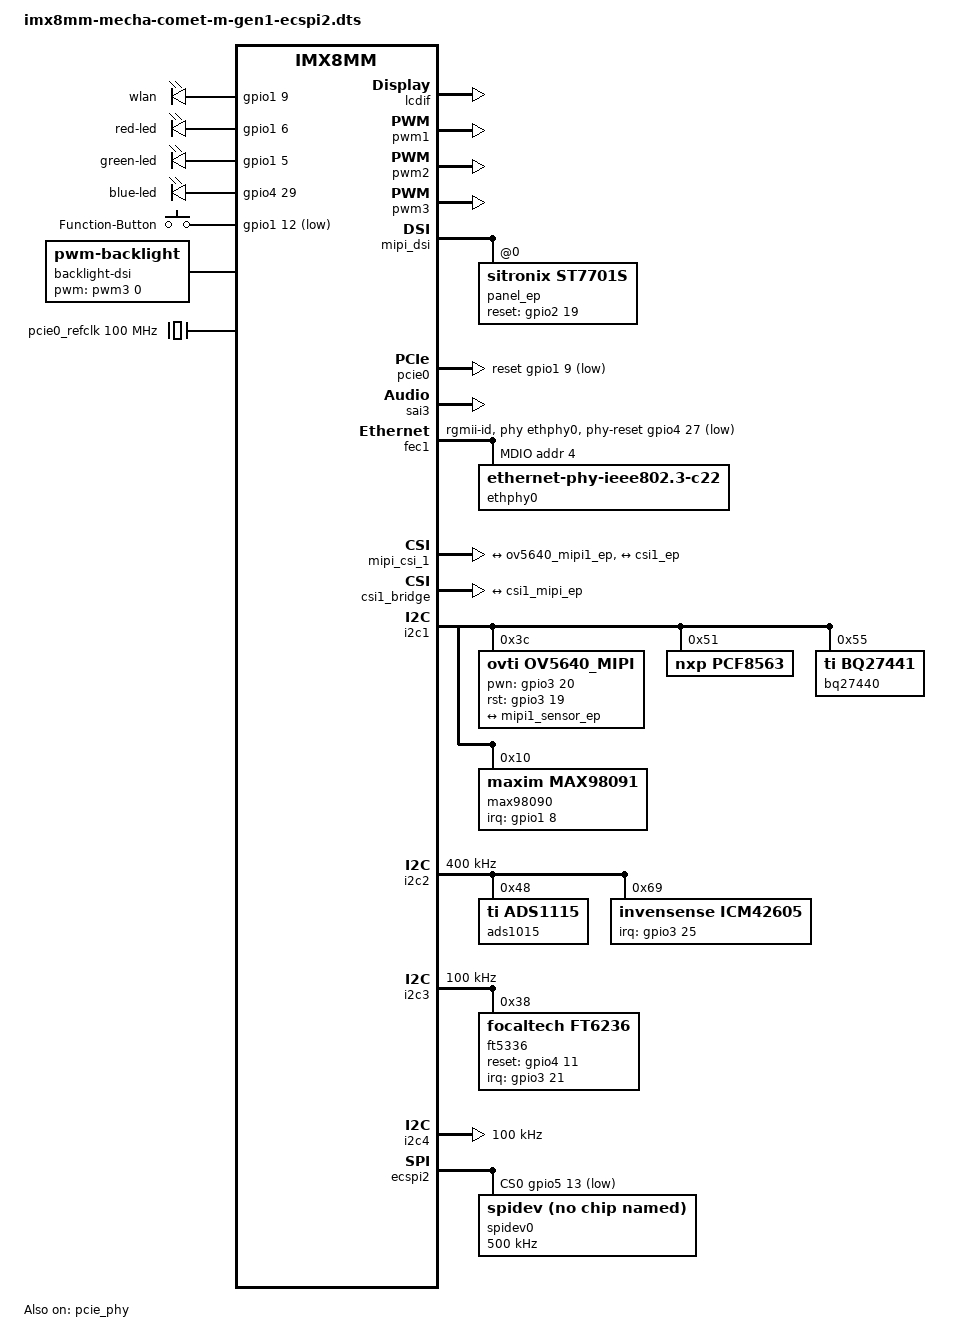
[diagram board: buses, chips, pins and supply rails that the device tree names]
// SPDX-License-Identifier: (GPL-2.0+ OR MIT)
/*
 * Copyright 2019 NXP
 */

/dts-v1/;

#include "imx8mm-mecha.dts"
#include <dt-bindings/phy/phy-imx8-pcie.h>

/ {

	leds {
		led_wlan: wlan {
			label = "wlan";
			gpios = <&gpio1 9 GPIO_ACTIVE_HIGH>;
			linux,default-trigger = "rfkill0";
		};

		led_red: red_led {
			label = "red-led";
			gpios = <&gpio1 6 GPIO_ACTIVE_HIGH>;
		};

		led_green: green_led {
			label = "green-led";
			gpios = <&gpio1 5 GPIO_ACTIVE_HIGH>;
		};

		led_blue: red_blue {
			label = "blue-led";
			gpios = <&gpio4 29 GPIO_ACTIVE_HIGH>;
		};
	};
	
	function_button: Function-Button {
		compatible = "gpio-keys";
		pinctrl-names = "default";
		pinctrl-0 = <&pinctrl_function_btn_gpio>;

		btn1 {
			label = "Function-Button";
			gpios = <&gpio1 12 GPIO_ACTIVE_LOW>;
			wakeup-source;
			linux,code = <KEY_FN_1>;
		};
	};

	gpio_init {
		compatible = "gpio-keys";
		pinctrl-names = "default";
		pinctrl-0 = <&pinctrl_gpios>;
	};

	backlight-dsi {
		status = "okay";
		compatible = "pwm-backlight";
		pwms = <&pwm3 0 5000000>;
		brightness-levels = <0 255>;
		num-interpolated-steps = <255>;
		default-brightness-level = <250>;
	};

	pcie0_refclk: pcie0-refclk {
		compatible = "fixed-clock";
		#clock-cells = <0>;
		clock-frequency = <100000000>;
	};

	sound-max98090 {
		compatible = "simple-audio-card";
		simple-audio-card,name = "max98090-audio";
		simple-audio-card,format = "i2s";
		simple-audio-card,frame-master = <&cpudai>;
		simple-audio-card,bitclock-master = <&cpudai>;
		simple-audio-card,widgets = "Speakers", "Speakers";
		simple-audio-card,routing =
					"Speakers", "SPKR",
					"Speakers", "SPKL",
					 "IN1", "MICBIAS",
                                         "MIC1","IN1",
                                         "MIC2","IN1";

		cpudai: simple-audio-card,cpu {
			sound-dai = <&sai3>;
			dai-tdm-slot-num = <2>;
			dai-tdm-slot-width = <32>;
		};

		simple-audio-card,codec {
			sound-dai = <&max98090>;
			clocks = <&clk IMX8MM_CLK_SAI3_ROOT>;
		};
	};
};

&lcdif {
	status = "okay";
};

&pwm1 {
        pinctrl-names = "default";
        pinctrl-0 = <&pinctrl_pwm1>;
        status = "okay";
};

&pwm2 {
        pinctrl-names = "default";
        pinctrl-0 = <&pinctrl_pwm2>;
        status = "okay";
};

&pwm3 {
	#pwm-cells = <2>;
        pinctrl-names = "default";
        pinctrl-0 = <&pinctrl_pwm3>;
        status = "okay";
};

&mipi_dsi {
        status = "okay";
        panel_ep: panel@0 {
                compatible = "sitronix,st7701s";
                reg = <0>;
                reset-gpio = <&gpio2 19 GPIO_ACTIVE_HIGH>;
                dsi-lanes = <2>;
                video-mode = <2>;       /* 0: burst mode
                                         * 1: non-burst mode with sync event
                                         * 2: non-burst mode with sync pulse
                                         */
                panel-width-mm = <60>;
                panel-height-mm = <60>;
                status = "okay";
        };
};

&pcie_phy {
	fsl,refclk-pad-mode = <IMX8_PCIE_REFCLK_PAD_INPUT>;
	fsl,tx-deemph-gen1 = <0x2d>;
	fsl,tx-deemph-gen2 = <0xf>;
	clocks = <&pcie0_refclk>;
	fsl,clkreq-unsupported;
	clock-names = "ref";
	status = "okay";
};

&pcie0 {
	pinctrl-names = "default";
	pinctrl-0 = <&pinctrl_pcie0>;
	reset-gpio = <&gpio1 9 GPIO_ACTIVE_LOW>;
	clocks = <&clk IMX8MM_CLK_PCIE1_ROOT>,
		<&clk IMX8MM_CLK_PCIE1_AUX>,
		<&pcie0_refclk>;
	clock-names = "pcie", "pcie_aux", "pcie_bus";
	assigned-clocks = <&clk IMX8MM_CLK_PCIE1_AUX>,
		<&clk IMX8MM_CLK_PCIE1_CTRL>;
	assigned-clock-rates = <10000000>, <250000000>;
	assigned-clock-parents = <&clk IMX8MM_SYS_PLL2_50M>,
		<&clk IMX8MM_SYS_PLL2_250M>;
	status = "okay";
};

&sai3 {
	#sound-dai-cells = <0>;
	pinctrl-names = "default";
	pinctrl-0 = <&pinctrl_sai3>;
	assigned-clocks = <&clk IMX8MM_CLK_SAI3>;
	assigned-clock-parents = <&clk IMX8MM_AUDIO_PLL2_OUT>;
	assigned-clock-rates = <22579200>;
	clocks = <&clk IMX8MM_CLK_SAI3_IPG>, <&clk IMX8MM_CLK_DUMMY>,
		<&clk IMX8MM_CLK_SAI3_ROOT>, <&clk IMX8MM_CLK_DUMMY>,
		<&clk IMX8MM_CLK_DUMMY>, <&clk IMX8MM_AUDIO_PLL1_OUT>,
		<&clk IMX8MM_AUDIO_PLL2_OUT>;
	clock-names = "bus", "mclk0", "mclk1", "mclk2", "mclk3", "pll8k", "pll11k";
	//fsl,sai-asynchronous;
	status = "okay";
};

&fec1 {
	pinctrl-names = "default";
	pinctrl-0 = <&pinctrl_fec1>;
	phy-mode = "rgmii-id";
	phy-handle = <&ethphy0>;
	phy-reset-gpios = <&gpio4 27 GPIO_ACTIVE_LOW>;
	phy-reset-post-delay = <300>;
	phy-reset-duration = <80>;
	fsl,magic-packet;
	status = "okay";

	mdio {
		#address-cells = <1>;
		#size-cells = <0>;

		ethphy0: ethernet-phy@4 {
			compatible = "ethernet-phy-ieee802.3-c22";
			reg = <4>;
			at803x,eee-disabled;
			at803x,vddio-1p8v;
		};
	};
};

&mipi_csi_1 {
	#address-cells = <1>;
	#size-cells = <0>;
	status = "okay";
	port {
		mipi1_sensor_ep: endpoint@1 {
			remote-endpoint = <&ov5640_mipi1_ep>;
			data-lanes = <2>;
			csis-hs-settle = <13>;
			csis-clk-settle = <2>;
			csis-wclk;
		};

		csi1_mipi_ep: endpoint@2 {
			remote-endpoint = <&csi1_ep>;
		};
	};
};

&csi1_bridge {
	fsl,mipi-mode;
	status = "okay";
	port {
		csi1_ep: endpoint {
			remote-endpoint = <&csi1_mipi_ep>;
		};
	};
};

&i2c1 {

	ov5640_mipi: ov5640_mipi@3c {
		compatible = "ovti,ov5640_mipi";
		reg = <0x3c>;
		status = "okay";
		pinctrl-names = "default";
		pinctrl-0 = <&pinctrl_csi_pwn>, <&pinctrl_csi_rst>;
		clocks = <&clk IMX8MM_CLK_CLKO1>;
		clock-names = "csi_mclk";
		assigned-clocks = <&clk IMX8MM_CLK_CLKO1>;
		assigned-clock-parents = <&clk IMX8MM_CLK_24M>;
		assigned-clock-rates = <24000000>;
		csi_id = <0>;
		pwn-gpios = <&gpio3 20 GPIO_ACTIVE_HIGH>;
		rst-gpios = <&gpio3 19 GPIO_ACTIVE_HIGH>;
		mclk = <24000000>;
		mclk_source = <0>;
		port {
			ov5640_mipi1_ep: endpoint {
				remote-endpoint = <&mipi1_sensor_ep>;
			};
		};
	};

	pcf8563: pcf8563@51 {
		compatible = "nxp,pcf8563";
		reg = <0x51>;
		#clock-cells = <0>;
	};

	bq27440: fuel-gauge@55 {
		compatible = "ti,bq27441";
		reg = <0x55>;
		monitored-battery = <&bat>;
		bat: battery {
			compatible = "simple-battery";
			device-chemistry = "lithium-ion-polymer";
			energy-full-design-microwatt-hours = <1100000>;
			charge-full-design-microamp-hours = <3000000>;
			voltage-min-design-microvolt = <3200000>;
			voltage-max-design-microvolt = <4200000>;
			over-voltage-threshold-microvolt = <4500000>;
		};
	};

	max98090: max98090@10 {
		#sound-dai-cells = <0>;
		compatible = "maxim,max98091";
		reg = <0x10>;
		clocks = <&clk IMX8MM_CLK_SAI3_ROOT>;
		interrupt-parent = <&gpio1>;
		interrupts = <8 IRQ_TYPE_LEVEL_HIGH>;
		clock-names = "mclk";
	};
};

&i2c2 {
	clock-frequency = <400000>;
	pinctrl-names = "default";
	pinctrl-0 = <&pinctrl_i2c2>;
	status = "okay";

	ads1015@48 {
		compatible = "ti,ads1115";
		reg = <0x48>;
		#address-cells = <1>;
		#size-cells = <0>;
	};

	icm42605@69 {
		compatible = "invensense,icm42605";
		pinctrl-0 = <&pinctrl_icm42605>;
		reg = <0x69>;
		interrupt-parent = <&gpio3>;
		interrupts = <25 IRQ_TYPE_EDGE_FALLING>;
		// vdd-supply = <&vdd>;
		// vddio-supply = <&vddio>;
	};
};

&i2c3 {
	clock-frequency = <100000>;
	pinctrl-names = "default";
	pinctrl-0 = <&pinctrl_i2c3>;
	status = "okay";

	ft5336@38 {
		compatible = "focaltech,ft6236", "ft5x06";
		reg = <0x38>;
		pinctrl-names = "default";
		pinctrl-0 = <&pinctrl_touch>;
		interrupt-parent = <&gpio3>;
		interrupts = <21 0>;
		reset-gpios = <&gpio4 11 GPIO_ACTIVE_HIGH>;
		touchscreen-size-x = <480>;
		touchscreen-size-y = <480>;
		status = "okay";
	};
};

&i2c4 {
	clock-frequency = <100000>;
	pinctrl-names = "default";
	pinctrl-0 = <&pinctrl_i2c4>;
	status = "okay";
};

&ecspi2 {
	#address-cells = <1>;
	#size-cells = <0>;
	fsl,spi-num-chipselects = <1>;
	pinctrl-names = "default";
	pinctrl-0 = <&pinctrl_ecspi2 &pinctrl_ecspi2_cs>;
	cs-gpios = <&gpio5 13 GPIO_ACTIVE_LOW>;
	status = "okay";

	spidev0: spi@0 {
		reg = <0>;
		compatible = "rohm,dh2228fv";
		spi-max-frequency = <500000>;
	};
};

&iomuxc {

	pinctrl_function_btn_gpio: gpiogrp {
		fsl,pins = <
			MX8MM_IOMUXC_GPIO1_IO12_GPIO1_IO12		0x19
		>;
	};

	pinctrl_i2c3: i2c3grp {
		fsl,pins = <
			MX8MM_IOMUXC_I2C3_SCL_I2C3_SCL                          0x400001c3
			MX8MM_IOMUXC_I2C3_SDA_I2C3_SDA                          0x400001c3
		>;
	};

	pinctrl_pwm1: pwm1grp {
		fsl,pins = <
			MX8MM_IOMUXC_SPDIF_RX_PWM2_OUT			0x06
		>;
	};

	pinctrl_pwm2: pwm2grp {
		fsl,pins = <
			MX8MM_IOMUXC_GPIO1_IO01_PWM1_OUT		0x06
		>;
	};

	pinctrl_pwm3: pwm3grp {
		fsl,pins = <
			MX8MM_IOMUXC_SPDIF_TX_PWM3_OUT		0x06
		>;
	};

	pinctrl_touch: touchgrp {
		fsl,pins = <
			MX8MM_IOMUXC_SAI1_TXC_GPIO4_IO11        0x19
			MX8MM_IOMUXC_SAI5_RXD0_GPIO3_IO21       0x19
		>;
	};

    pinctrl_i2c2: i2c2grp {
		fsl,pins = <
			MX8MM_IOMUXC_I2C2_SCL_I2C2_SCL                          0x400001c3
			MX8MM_IOMUXC_I2C2_SDA_I2C2_SDA                          0x400001c3
			MX8MM_IOMUXC_SAI1_MCLK_GPIO4_IO20			0x19
		>;
	};

	pinctrl_i2c4: i2c4grp {
		fsl,pins = <
			MX8MM_IOMUXC_I2C4_SCL_I2C4_SCL          0x400001c3
			MX8MM_IOMUXC_I2C4_SDA_I2C4_SDA          0x400001c3
		>;
	};

	pinctrl_icm42605: icm_grp {
		fsl,pins = <
			MX8MM_IOMUXC_SAI5_MCLK_GPIO3_IO25	0x05
		>;
	};

	pinctrl_fec1: fec1grp {
		fsl,pins = <
			MX8MM_IOMUXC_ENET_MDC_ENET1_MDC					0x3
			MX8MM_IOMUXC_ENET_MDIO_ENET1_MDIO				0x3
			MX8MM_IOMUXC_ENET_TD3_ENET1_RGMII_TD3			0x1f
			MX8MM_IOMUXC_ENET_TD2_ENET1_RGMII_TD2			0x1f
			MX8MM_IOMUXC_ENET_TD1_ENET1_RGMII_TD1			0x1f
			MX8MM_IOMUXC_ENET_TD0_ENET1_RGMII_TD0			0x1f
			MX8MM_IOMUXC_ENET_RD3_ENET1_RGMII_RD3			0x91
			MX8MM_IOMUXC_ENET_RD2_ENET1_RGMII_RD2			0x91
			MX8MM_IOMUXC_ENET_RD1_ENET1_RGMII_RD1			0x91
			MX8MM_IOMUXC_ENET_RD0_ENET1_RGMII_RD0			0x91
			MX8MM_IOMUXC_ENET_TXC_ENET1_RGMII_TXC			0x1f
			MX8MM_IOMUXC_ENET_RXC_ENET1_RGMII_RXC			0x91
			MX8MM_IOMUXC_ENET_RX_CTL_ENET1_RGMII_RX_CTL		0x91
			MX8MM_IOMUXC_ENET_TX_CTL_ENET1_RGMII_TX_CTL		0x1f
			MX8MM_IOMUXC_SAI2_MCLK_GPIO4_IO27				0x19
		>;
	};

	pinctrl_csi_pwn: csi_pwn_grp {
		fsl,pins = <
			MX8MM_IOMUXC_SAI5_RXC_GPIO3_IO20	0x19
		>;
	};

	pinctrl_csi_rst: csi_rst_grp {
		fsl,pins = <
			MX8MM_IOMUXC_SAI5_RXFS_GPIO3_IO19		0x19
			MX8MM_IOMUXC_GPIO1_IO14_CCMSRCGPCMIX_CLKO1      0x59
		>;
	};

	pinctrl_pcie0: pcie0grp {
		fsl,pins = <
			MX8MM_IOMUXC_GPIO1_IO07_GPIO1_IO7				0x61	/* open drain, pull up */
			MX8MM_IOMUXC_GPIO1_IO09_GPIO1_IO9				0x19
		>;
	};

	pinctrl_sai3: sai3grp {
		fsl,pins = <
			MX8MM_IOMUXC_SAI3_MCLK_SAI3_MCLK	0xd6
			MX8MM_IOMUXC_SAI3_TXC_SAI3_TX_BCLK	0xd6
			MX8MM_IOMUXC_SAI3_TXFS_SAI3_TX_SYNC	0xd6
			MX8MM_IOMUXC_SAI3_RXD_SAI3_RX_DATA0	0xd6
			MX8MM_IOMUXC_SAI3_TXD_SAI3_TX_DATA0	0xd6
		>;
	};

	pinctrl_gpios: gpiogrp {
		fsl,pins = <
			MX8MM_IOMUXC_SD2_CD_B_GPIO2_IO12		0x19
			MX8MM_IOMUXC_SD2_WP_GPIO2_IO20			0x19
			MX8MM_IOMUXC_SD2_DATA0_GPIO2_IO15		0x19
			MX8MM_IOMUXC_SD2_DATA1_GPIO2_IO16		0x19
			MX8MM_IOMUXC_SD2_DATA2_GPIO2_IO17		0x19
			MX8MM_IOMUXC_SD2_DATA3_GPIO2_IO18		0x19
			MX8MM_IOMUXC_SAI3_RXFS_GPIO4_IO28		0x19
			MX8MM_IOMUXC_GPIO1_IO13_GPIO1_IO13		0x19
			MX8MM_IOMUXC_SD2_CMD_GPIO2_IO14			0x19
			MX8MM_IOMUXC_SD2_CLK_GPIO2_IO13			0x19
		>;
	};

	pinctrl_ecspi2: ecspi2grp {
		fsl,pins = <
			MX8MM_IOMUXC_ECSPI2_SCLK_ECSPI2_SCLK		0x82
			MX8MM_IOMUXC_ECSPI2_MOSI_ECSPI2_MOSI		0x82
			MX8MM_IOMUXC_ECSPI2_MISO_ECSPI2_MISO		0x82
		>;
	};

	pinctrl_ecspi2_cs: ecspi2cs {
		fsl,pins = <
			MX8MM_IOMUXC_ECSPI2_SS0_GPIO5_IO13		0x40000
		>;
	};
};

//			MX8MM_IOMUXC_ECSPI2_SCLK_GPIO5_IO10		0x19
//			MX8MM_IOMUXC_ECSPI2_MOSI_GPIO5_IO11		0x19
//			MX8MM_IOMUXC_ECSPI2_MISO_GPIO5_IO12		0x19
//			MX8MM_IOMUXC_ECSPI2_SS0_GPIO5_IO13		0x19
		
